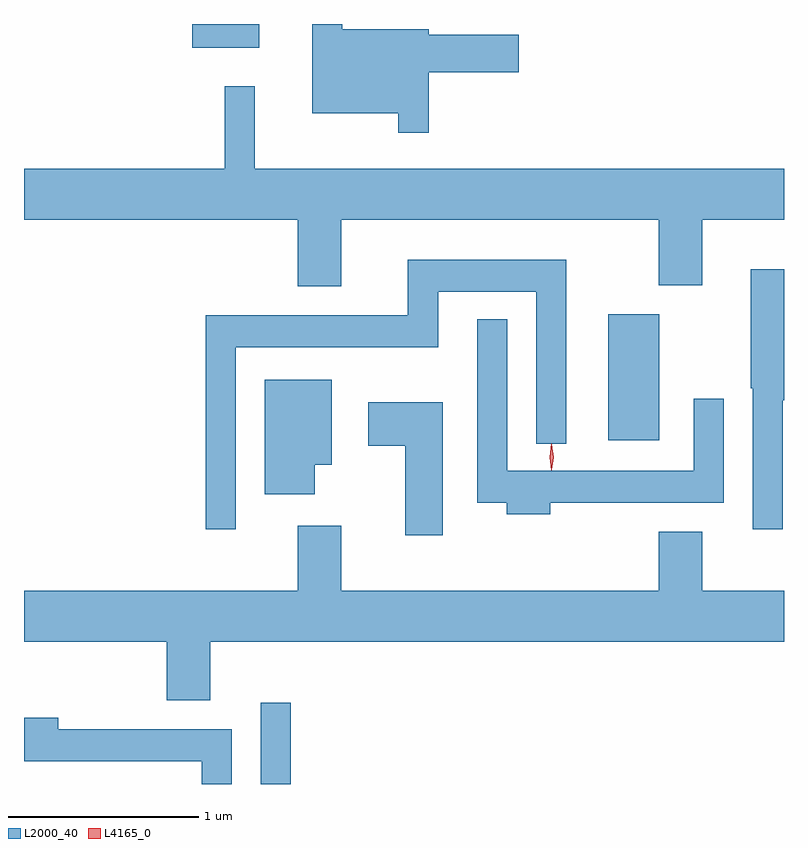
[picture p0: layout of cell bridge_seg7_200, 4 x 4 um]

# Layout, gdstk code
import gdstk
lib = gdstk.Library(unit=1e-6, precision=1e-09)
def R(c, l, rs):  # rectangles x0, y0, x1, y1
    for r in rs: c.add(gdstk.rectangle(r[:2], r[2:], *l))
def P(c, l, *ps):  # polygons
    for p in ps: c.add(gdstk.Polygon(p, *l))
L2000_40 = (2000, 40)
L4165_0 = (4165, 0)

bridge_seg7_200 = lib.new_cell('bridge_seg7_200')
R(bridge_seg7_200, L2000_40, [(1481.416,1720.226,1481.574,1720.653), (1483.246,1722.036,1483.514,1722.699), (1481.056,1724.101,1481.409,1724.226)])
P(bridge_seg7_200, L2000_40, [(1482.299,1723.971),(1482.774,1723.971),(1482.774,1724.169),(1482.299,1724.169),(1482.299,1724.199),(1481.844,1724.199),(1481.844,1724.226),(1481.686,1724.226),(1481.686,1723.756),(1482.141,1723.756),(1482.141,1723.653),(1482.299,1723.653)],
  [(1481.839,1723.196),(1483.511,1723.196),(1483.511,1722.851),(1483.739,1722.851),(1483.739,1723.196),(1484.17,1723.196),(1484.17,1723.464),(1481.384,1723.464),(1481.384,1723.898),(1481.226,1723.898),(1481.226,1723.464),(1480.17,1723.464),(1480.17,1723.196),(1481.611,1723.196),(1481.611,1722.846),(1481.839,1722.846)],
  [(1481.284,1722.526),(1482.349,1722.526),(1482.349,1722.816),(1482.866,1722.816),(1482.866,1722.018),(1483.024,1722.018),(1483.024,1722.984),(1482.191,1722.984),(1482.191,1722.694),(1481.126,1722.694),(1481.126,1721.568),(1481.284,1721.568)],
  [(1484.164,1722.246),(1484.17,1722.246),(1484.17,1722.934),(1483.996,1722.934),(1483.996,1722.31),(1484.006,1722.31),(1484.006,1721.568),(1484.164,1721.568)],
  [(1482.939,1721.706),(1483.854,1721.706),(1483.854,1722.253),(1483.696,1722.253),(1483.696,1721.874),(1482.714,1721.874),(1482.714,1722.673),(1482.556,1722.673),(1482.556,1721.706),(1482.711,1721.706),(1482.711,1721.646),(1482.939,1721.646)],
  [(1481.699,1721.906),(1481.789,1721.906),(1481.789,1722.354),(1481.436,1722.354),(1481.436,1721.751),(1481.699,1721.751)],
  [(1482.374,1722.234),(1481.981,1722.234),(1481.981,1722.006),(1482.176,1722.006),(1482.176,1721.536),(1482.374,1721.536)],
  [(1481.149,1720.976),(1484.17,1720.976),(1484.17,1721.244),(1483.739,1721.244),(1483.739,1721.554),(1483.511,1721.554),(1483.511,1721.244),(1481.839,1721.244),(1481.839,1721.584),(1481.611,1721.584),(1481.611,1721.244),(1480.17,1721.244),(1480.17,1720.976),(1480.921,1720.976),(1480.921,1720.666),(1481.149,1720.666)],
  [(1481.264,1720.514),(1480.349,1720.514),(1480.349,1720.574),(1480.17,1720.574),(1480.17,1720.346),(1481.106,1720.346),(1481.106,1720.226),(1481.264,1720.226)])
P(bridge_seg7_200, L4165_0, [(1482.946,1721.877),(1482.946,1721.877),(1482.936,1721.947),(1482.946,1722.016),(1482.946,1722.016),(1482.947,1722.016),(1482.956,1721.947),(1482.947,1721.877)],
  [(1482.947,1721.879),(1482.947,1721.88),(1482.937,1721.946),(1482.947,1722.012),(1482.947,1722.013),(1482.948,1722.012),(1482.957,1721.946),(1482.948,1721.88)])

lib.write_gds('bridge_seg7_200.gds')
